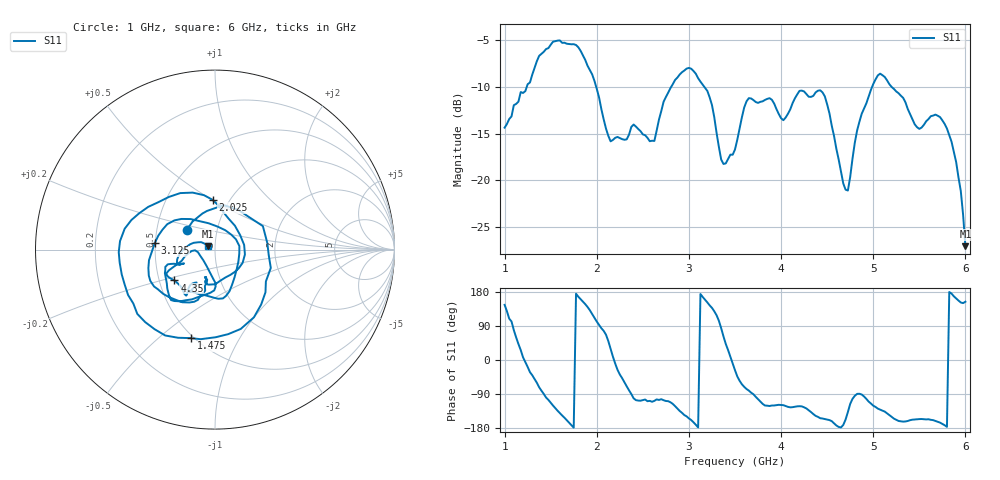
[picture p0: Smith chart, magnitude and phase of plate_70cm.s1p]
! SOL-corrected complex mean; no background subtraction; no window
# Hz S RI R 50
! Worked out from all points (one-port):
!   201 points, 1 GHz to 6 GHz, reference 50 ohm
!   lowest |S11| = -27.1 dB at 6 GHz (marker M1), VSWR 1.09, Z = 46.1 + j1.81 ohm
!   |S11| at or under -10 dB: 1.994 GHz to 2.807 GHz (812.4 MHz wide, 33.8 % of centre); 3.168 GHz to 4.987 GHz (1.819 GHz wide, 44.6 % of centre); 5.2 GHz to end of sweep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
!   S11 on the Smith chart (normalised r, x): 1 GHz: 0.71, +0.16; 1.475 GHz: 0.48, -0.64; 2.025 GHz: 0.84, +0.50; 3.125 GHz: 0.50, +0.04; 4.35 GHz: 0.60, -0.22; 6 GHz: 0.92, +0.04
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1e9  -0.1579 0.1082
1.1e9  0.049 0.248
1.25e9  0.3109 -0.1022
1.375e9  0.1433 -0.4421
1.475e9  -0.1342 -0.4932
1.625e9  -0.455 -0.3006
1.8e9  -0.5032 0.1164
2.025e9  -0.0137 0.2776
2.15e9  0.1405 0.0802
2.25e9  0.1323 -0.1042
2.625e9  -0.0498 -0.1547
2.875e9  -0.22 -0.2792
3.125e9  -0.3363 0.0346
3.35e9  0.0137 0.1285
3.5e9  0.1304 -0.0663
3.65e9  0.0443 -0.272
3.825e9  -0.1353 -0.2332
4.125e9  -0.1467 -0.2138
4.35e9  -0.2256 -0.1718
4.475e9  -0.2569 -0.1155
4.675e9  -0.095 -0.0144
4.75e9  -0.0455 -0.0937
4.875e9  -0.0043 -0.2272
5.05e9  -0.2262 -0.2865
5.375e9  -0.2276 -0.0788
5.8e9  -0.1889 -0.0117
5.95e9  -0.0772 0.0415
6e9  -0.0398 0.0196
